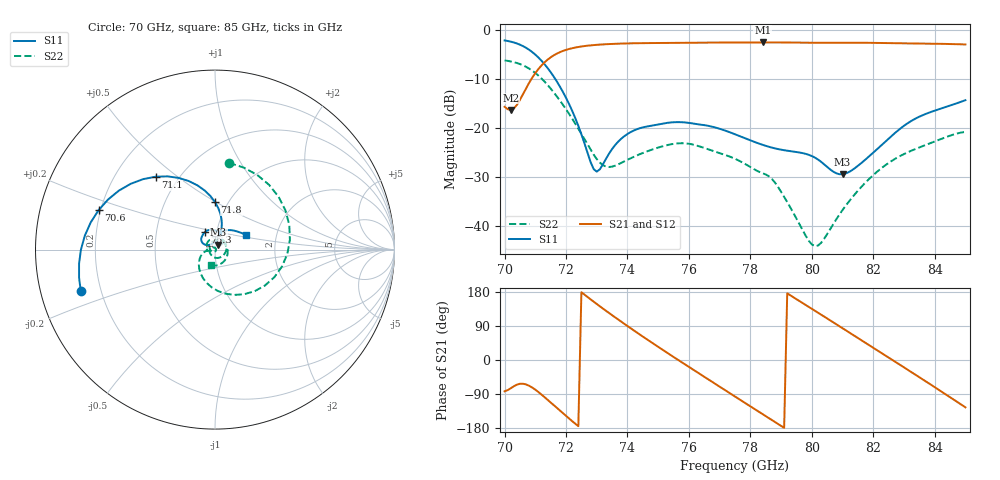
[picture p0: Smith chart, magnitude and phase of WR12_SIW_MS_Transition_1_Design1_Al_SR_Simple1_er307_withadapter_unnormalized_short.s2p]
! Touchstone file exported from HFSS 2020.1.3
!  File:  /home/erdoel/scratch/P2S30/WR12_SIW_MS_Transition_1.aedt
!  Generated:  10:25:16 AM  Feb 20, 2021
!  Design:  Design1_Al_SR_Simple1_er307_withadapter
!  Project:  WR12_SIW_MS_Transition_1
!  Setup:  Setup1
!  Solution:  Sweep
! Variables:
!  T_L2 = 35um
!  fil = 0.3mm
!  hm = 0.36mm
!  hsub = 0.127mm
!  hwg = 1.55mm
!  l1 = 1.05mm
!  lcav = 1.92mm
!  len50 = 12.48mm
!  lt = 0.7mm
!  offx = 0um
!  offy = 0um
!  rvia = 0.075mm
!  s1 = 1.33mm
!  shift = 20um
!  sl = 3.1mm
!  sy = 0.65mm
!  th = 35um
!  w1 = 1.17mm
!  w50 = 300um
!  wcav = 3.45mm
!  wm = 1.9mm
!  wslot = 1.5mm
!  wt = 0.6mm
!  wwg = 3.1mm
!Data is not renormalized
# GHZ S DB
! Terminal data exported
! Port[1] = _WG
! Port[2] = MS
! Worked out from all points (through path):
!   151 points, 70 GHz to 85 GHz, reference per port
!   highest |S21| = -2.51 dB at 78.4 GHz (marker M1); lowest = -16.3 dB at 70.2 GHz (marker M2)
!   lowest |S11| = -29.5 dB at 81 GHz (marker M3), VSWR 1.07
!   |S11| at or under -10 dB: 71.65 GHz to end of sweep
!   |S22| runs from -44.1 to -6.2 dB; largest |S21 - S12| = 1.6e-15
!   S11 on the Smith chart (normalised r, x): 70 GHz: 0.12, -0.15; 70.6 GHz: 0.19, +0.16; 71.1 GHz: 0.37, +0.42; 71.8 GHz: 0.87, +0.49; 75.3 GHz: 0.88, +0.17; 85 GHz: 1.40, +0.24
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70  -2.13 -162.8  -15.68 -82.6  -15.68 -82.6  -6.21 80.9
! Gamma 0.293040523473412 1044.04504839388 0 0 0 0 12.6787030338779 2319.08438314386
! Port Impedance538.162913262182 0.0908477770090825 0 0 0 0 48.4398708879534 -0.176896324617871
70.2  -2.37 -174.1  -16.33 -74.7  -16.33 -74.7  -6.41 60.5
70.6  -3.29 161.3  -13.07 -62.6  -13.07 -62.6  -7.21 18.3
71.1  -5.61 129.2  -7.96 -84.5  -7.96 -84.5  -9.30 -35.8
71.8  -11.54 90.0  -4.52 -133.8  -4.52 -133.8  -14.39 -104.3
72.5  -21.30 72.2  -3.35 178.9  -3.35 178.9  -21.22 -155.5
73  -28.92 117.9  -3.02 147.7  -3.02 147.7  -26.34 -171.1
73.8  -22.18 152.1  -2.76 100.9  -2.76 100.9  -27.13 -178.1
74.4  -20.05 140.1  -2.68 67.3  -2.68 67.3  -25.36 152.1
75  -19.28 127.1  -2.65 34.6  -2.65 34.6  -24.00 112.7
75.3  -18.95 119.9  -2.65 18.6  -2.65 18.6  -23.49 90.6
76.3  -19.26 93.4  -2.61 -33.9  -2.61 -33.9  -23.67 11.4
77.5  -21.28 65.6  -2.53 -96.5  -2.53 -96.5  -26.29 -74.3
78.4  -23.45 54.4  -2.51 -143.0  -2.51 -143.0  -29.24 -141.3
79.2  -24.65 49.6  -2.55 175.8  -2.55 175.8  -35.13 136.8
80  -25.73 40.4  -2.60 135.0  -2.60 135.0  -43.78 30.3
81  -29.45 56.1  -2.57 83.9  -2.57 83.9  -36.77 -117.6
81.8  -26.16 77.7  -2.60 42.4  -2.60 42.4  -30.81 172.9
82.5  -22.18 77.4  -2.69 6.3  -2.69 6.3  -27.14 114.1
83.2  -18.71 64.1  -2.74 -29.7  -2.74 -29.7  -24.75 54.6
83.9  -16.68 46.8  -2.79 -66.3  -2.79 -66.3  -23.00 -5.1
85  -14.32 25.0  -2.94 -124.9  -2.94 -124.9  -20.80 -105.3
